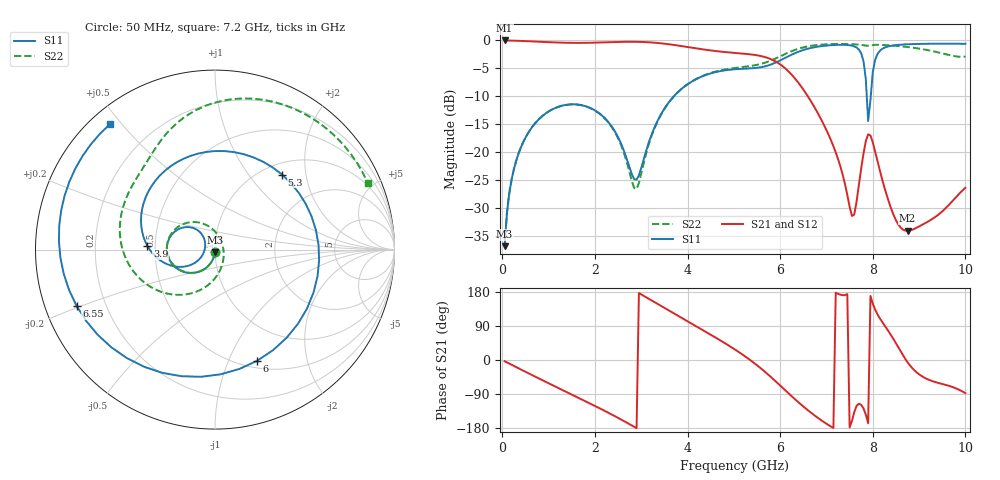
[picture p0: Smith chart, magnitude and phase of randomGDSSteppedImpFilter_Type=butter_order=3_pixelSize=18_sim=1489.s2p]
! freq	dB(S11)	phase(S11)	dB(S12)	phase(S12)
!  dB(S21)	phase(S21)	dB(S22)	phase(S22)
!S-par simulation data
#  GHz  S  DB  R 50
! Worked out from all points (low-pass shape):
!   200 points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, 50 MHz to 10 GHz, reference 50 ohm
!   highest |S21| = -0.01 dB at 50 MHz (marker M1); lowest = -34.0 dB at 8.75 GHz (marker M2)
!   |S21| within 3 dB of the highest: start of sweep to 5.683 GHz
!   lowest |S11| = -36.8 dB at 50 MHz (marker M3), VSWR 1.03, Z = 49.9 - j1.45 ohm
!   |S11| at or under -10 dB: start of sweep to 3.704 GHz; 7.871 GHz to 7.957 GHz (86.1 MHz wide, 1.09 % of centre)
!   |S22| runs from -36.8 to -0.6 dB; largest |S21 - S12| = 0
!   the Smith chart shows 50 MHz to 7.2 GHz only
!   S11 on the Smith chart (normalised r, x): 50 MHz: 1.00, -0.03; 3.9 GHz: 0.45, +0.02; 5.3 GHz: 1.21, +1.47; 6 GHz: 0.58, -1.28; 6.55 GHz: 0.09, -0.19; 7.2 GHz: 0.06, +0.46
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0.05  -36.78 -92.4  -0.01 -3.2  -0.01 -3.2  -36.78 -92.5
0.2  -24.91 -102.6  -0.03 -12.6  -0.03 -12.6  -24.92 -102.7
0.5  -17.39 -121.4  -0.12 -31.1  -0.12 -31.1  -17.39 -121.6
1.75  -11.65 165.8  -0.44 -105.8  -0.44 -105.8  -11.67 161.9
2.9  -24.88 177.3  -0.25 -179.9  -0.25 -179.9  -26.56 0.0
3.4  -13.61 -152.5  -0.49 144.7  -0.49 144.7  -13.70 -102.3
3.9  -8.46 176.9  -1.05 109.1  -1.05 109.1  -8.46 -141.0
5.05  -5.14 78.9  -2.26 25.6  -2.26 25.6  -4.89 151.8
5.3  -5.03 48.2  -2.44 4.6  -2.44 4.6  -4.64 140.3
5.7  -4.58 -14.5  -3.05 -34.1  -3.05 -34.1  -3.91 123.8
6  -3.58 -69.3  -4.28 -67.3  -4.28 -67.3  -2.85 109.5
6.55  -1.59 -157.9  -9.38 -127.8  -9.38 -127.8  -1.15 72.5
6.7  -1.28 -177.1  -11.36 -142.3  -11.36 -142.3  -0.92 61.2
7.2  -0.80 130.1  -20.01 177.5  -20.01 177.5  -0.64 23.7
7.55  -0.94 95.2  -31.38 -161.0  -31.38 -161.0  -0.68 -2.6
7.8  -3.71 54.9  -20.20 -127.8  -20.20 -127.8  -0.87 -21.2
7.9  -14.41 59.1  -16.79 -166.9  -16.79 -166.9  -0.94 -27.8
8  -5.65 121.2  -18.22 148.8  -18.22 148.8  -0.82 -34.8
8.35  -1.03 75.1  -28.93 74.0  -28.93 74.0  -0.88 -63.0
8.75  -0.69 47.8  -34.03 -5.8  -34.03 -5.8  -1.18 -97.2
9.45  -0.58 11.3  -30.92 -61.6  -30.92 -61.6  -2.22 -177.0
10  -0.60 -13.2  -26.36 -87.5  -26.36 -87.5  -2.89 78.3
